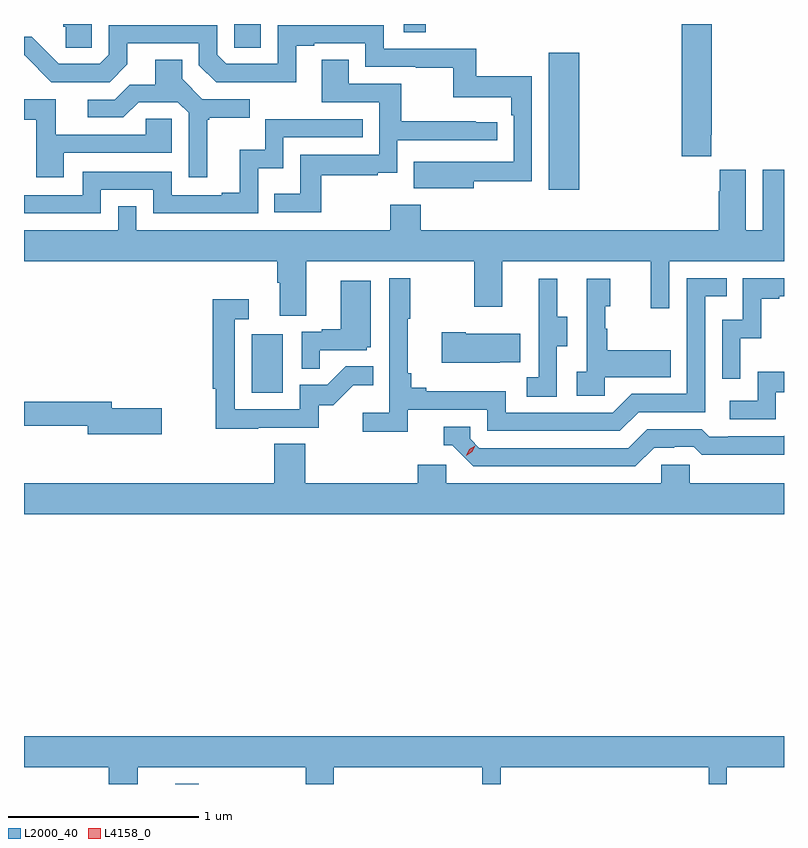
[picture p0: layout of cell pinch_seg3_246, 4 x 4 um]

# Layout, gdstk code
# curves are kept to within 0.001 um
import gdstk
lib = gdstk.Library(unit=1e-6, precision=1e-09)
def R(c, l, rs):  # rectangles x0, y0, x1, y1
    for r in rs: c.add(gdstk.rectangle(r[:2], r[2:], *l))
def P(c, l, *ps):  # polygons
    for p in ps: c.add(gdstk.Polygon(p, *l))
L2000_40 = (2000, 40)
L4158_0 = (4158, 0)

pinch_seg3_246 = lib.new_cell('pinch_seg3_246')
R(pinch_seg3_246, L2000_40, [(900.404,731.465,900.526,731.467), (900.806,733.524,900.97,733.831), (902.369,734.592,902.53,735.313), (900.714,735.34,900.853,735.465), (901.605,735.421,901.721,735.465)])
P(pinch_seg3_246, L2000_40, [(903.223,734.881),(903.228,734.881),(903.228,735.465),(903.068,735.465),(903.068,734.769),(903.223,734.769)],
  [(899.964,735.465),(899.813,735.465),(899.813,735.45),(899.827,735.45),(899.827,735.34),(899.964,735.34)],
  [(901.975,734.638),(902.28,734.638),(902.28,735.19),(901.987,735.19),(901.987,735.336),(901.5,735.336),(901.5,735.459),(900.942,735.459),(900.942,735.255),(900.672,735.255),(900.624,735.303),(900.624,735.459),(900.054,735.459),(900.054,735.303),(900.006,735.255),(899.79,735.255),(899.648,735.397),(899.607,735.397),(899.607,735.3),(899.61,735.3),(899.751,735.159),(900.057,735.159),(900.151,735.253),(900.151,735.363),(900.528,735.363),(900.528,735.249),(900.618,735.159),(901.039,735.158),(901.039,735.351),(901.135,735.351),(901.135,735.363),(901.404,735.363),(901.404,735.24),(901.669,735.24),(901.669,735.235),(901.866,735.235),(901.866,735.08),(902.171,735.08),(902.171,734.984),(902.184,734.984),(902.184,734.739),(901.657,734.74),(901.657,734.6),(901.975,734.6)],
  [(900.571,734.961),(900.583,734.961),(900.583,734.972),(900.796,734.972),(900.796,735.069),(900.546,735.069),(900.439,735.176),(900.439,735.278),(900.299,735.278),(900.299,735.146),(900.164,735.146),(900.084,735.066),(899.943,735.066),(899.943,734.973),(900.13,734.973),(900.211,735.054),(900.417,735.054),(900.474,734.997),(900.474,734.658),(900.571,734.658)],
  [(901.171,734.67),(901.469,734.67),(901.469,734.681),(901.572,734.681),(901.572,734.853),(902.098,734.853),(902.098,734.949),(901.985,734.949),(901.985,734.954),(901.592,734.954),(901.592,735.15),(901.315,735.15),(901.315,735.278),(901.175,735.278),(901.175,735.054),(901.476,735.054),(901.476,734.778),(901.06,734.778),(901.06,734.572),(900.925,734.572),(900.925,734.475),(901.171,734.475)],
  [(899.815,734.787),(900.384,734.787),(900.384,734.967),(900.247,734.967),(900.247,734.883),(899.773,734.883),(899.773,735.069),(899.607,735.069),(899.607,734.961),(899.671,734.961),(899.671,734.658),(899.815,734.658)],
  [(900.012,734.592),(900.288,734.592),(900.288,734.469),(900.84,734.469),(900.84,734.705),(900.972,734.705),(900.972,734.868),(901.391,734.868),(901.391,734.964),(900.876,734.964),(900.876,734.803),(900.743,734.803),(900.743,734.578),(900.647,734.578),(900.647,734.565),(900.384,734.565),(900.384,734.688),(899.916,734.688),(899.916,734.565),(899.607,734.565),(899.607,734.469),(900.012,734.469)],
  [(901.093,734.216),(901.978,734.216),(901.978,733.977),(902.125,733.977),(902.125,734.216),(902.906,734.216),(902.906,733.968),(903.003,733.968),(903.003,734.216),(903.607,734.216),(903.607,734.698),(903.494,734.698),(903.494,734.38),(903.406,734.38),(903.406,734.698),(903.269,734.698),(903.269,734.585),(903.263,734.585),(903.263,734.38),(901.694,734.38),(901.694,734.515),(901.534,734.515),(901.534,734.38),(900.198,734.38),(900.198,734.507),(900.102,734.507),(900.102,734.38),(899.607,734.38),(899.607,734.216),(900.941,734.216),(900.941,734.104),(900.953,734.104),(900.953,733.93),(901.093,733.93)],
  [(901.628,733.434),(902.046,733.434),(902.046,733.323),(902.743,733.323),(902.842,733.422),(903.192,733.422),(903.192,734.031),(903.305,734.031),(903.305,734.127),(903.096,734.127),(903.096,733.518),(902.805,733.518),(902.706,733.419),(902.142,733.419),(902.142,733.531),(901.723,733.531),(901.723,733.55),(901.646,733.55),(901.646,733.627),(901.627,733.627),(901.627,733.915),(901.639,733.915),(901.639,734.128),(901.53,734.128),(901.53,733.42),(901.389,733.42),(901.389,733.318),(901.628,733.318)],
  [(903.378,733.811),(903.488,733.811),(903.488,734.019),(903.583,734.019),(903.583,734.031),(903.607,734.031),(903.607,734.127),(903.39,734.127),(903.39,733.908),(903.282,733.908),(903.282,733.599),(903.378,733.599)],
  [(902.412,733.768),(902.467,733.768),(902.467,733.923),(902.413,733.923),(902.413,734.125),(902.315,734.125),(902.315,733.911),(902.316,733.911),(902.316,733.607),(902.253,733.607),(902.253,733.504),(902.412,733.504)],
  [(902.664,733.607),(903.011,733.607),(903.011,733.747),(902.677,733.747),(902.677,733.862),(902.667,733.862),(902.667,733.98),(902.692,733.98),(902.692,734.125),(902.568,734.125),(902.568,733.634),(902.517,733.634),(902.517,733.509),(902.664,733.509)],
  [(901.163,733.749),(901.41,733.749),(901.41,733.764),(901.432,733.764),(901.432,734.113),(901.274,734.113),(901.274,733.858),(901.175,733.858),(901.175,733.845),(901.068,733.845),(901.068,733.651),(901.163,733.651)],
  [(900.839,733.341),(901.158,733.341),(901.158,733.458),(901.234,733.458),(901.341,733.565),(901.445,733.565),(901.445,733.664),(901.301,733.664),(901.203,733.566),(901.059,733.566),(901.059,733.437),(900.717,733.437),(900.717,733.911),(900.79,733.911),(900.79,734.017),(900.601,734.017),(900.601,733.544),(900.616,733.544),(900.616,733.336),(900.839,733.336)],
  [(902.111,733.685),(902.219,733.685),(902.219,733.834),(901.933,733.834),(901.933,733.842),(901.805,733.842),(901.805,733.682),(902.111,733.682)],
  [(903.564,733.527),(903.607,733.527),(903.607,733.636),(903.468,733.636),(903.468,733.482),(903.321,733.482),(903.321,733.386),(903.564,733.386)],
  [(900.331,733.442),(900.07,733.442),(900.07,733.478),(899.607,733.478),(899.607,733.35),(899.942,733.35),(899.942,733.307),(900.331,733.307)],
  [(902.923,733.236),(903.03,733.236),(903.03,733.239),(903.133,733.239),(903.175,733.197),(903.408,733.197),(903.408,733.199),(903.607,733.199),(903.607,733.297),(903.313,733.296),(903.313,733.293),(903.214,733.293),(903.175,733.332),(902.886,733.332),(902.787,733.233),(902.004,733.233),(901.956,733.281),(901.956,733.344),(901.817,733.344),(901.817,733.248),(901.86,733.248),(901.971,733.137),(902.824,733.137)],
  [(903.607,733.048),(903.111,733.048),(903.111,733.146),(902.961,733.146),(902.961,733.048),(901.83,733.048),(901.83,733.146),(901.679,733.146),(901.679,733.048),(901.088,733.048),(901.088,733.256),(900.923,733.256),(900.923,733.048),(899.607,733.048),(899.607,732.884),(903.607,732.884)],
  [(899.607,731.552),(900.053,731.552),(900.053,731.465),(900.205,731.465),(900.205,731.552),(901.09,731.552),(901.09,731.465),(901.237,731.465),(901.237,731.552),(902.018,731.552),(902.018,731.465),(902.115,731.465),(902.115,731.552),(903.21,731.552),(903.21,731.465),(903.306,731.465),(903.306,731.552),(903.607,731.552),(903.607,731.716),(899.607,731.716)])
P(pinch_seg3_246, L4158_0, [(901.935,733.193),(901.935,733.194),(901.95,733.226),(901.981,733.246),(901.981,733.246),(901.981,733.245),(901.965,733.213),(901.935,733.193)])

lib.write_gds('pinch_seg3_246.gds')
